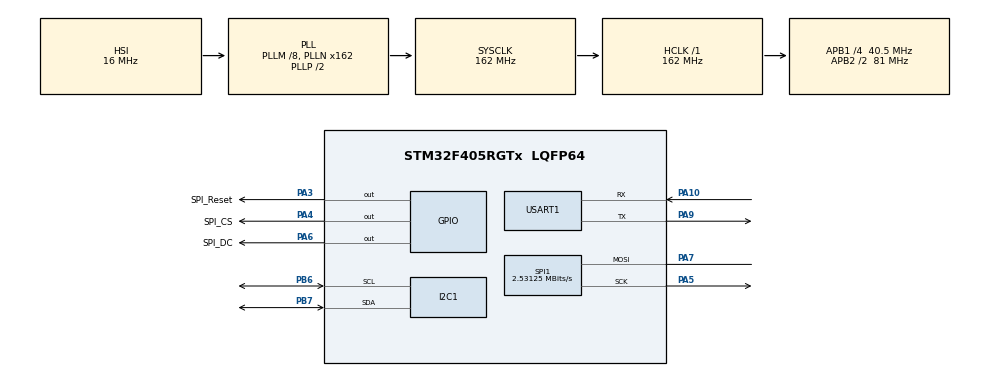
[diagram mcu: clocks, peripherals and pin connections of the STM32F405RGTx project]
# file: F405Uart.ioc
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Dma.I2C1_RX.0.Direction=DMA_PERIPH_TO_MEMORY
Dma.I2C1_RX.0.FIFOMode=DMA_FIFOMODE_DISABLE
Dma.I2C1_RX.0.Instance=DMA1_Stream0
Dma.I2C1_RX.0.MemDataAlignment=DMA_MDATAALIGN_BYTE
Dma.I2C1_RX.0.MemInc=DMA_MINC_ENABLE
Dma.I2C1_RX.0.Mode=DMA_CIRCULAR
Dma.I2C1_RX.0.PeriphDataAlignment=DMA_PDATAALIGN_BYTE
Dma.I2C1_RX.0.PeriphInc=DMA_PINC_DISABLE
Dma.I2C1_RX.0.Priority=DMA_PRIORITY_MEDIUM
Dma.Request0=I2C1_RX
I2C1.I2C_Mode=I2C_Fast
Mcu.Family=STM32F4
Mcu.Name=STM32F405RGTx
Mcu.Package=LQFP64
NVIC.DMA1_Stream0_IRQn=true\:0\:0\:false\:false\:true\:false\:true\:true
NVIC.I2C1_EV_IRQn=true\:0\:0\:false\:false\:true\:true\:true\:true
NVIC.PriorityGroup=NVIC_PRIORITYGROUP_4
PA10.Mode=Asynchronous
PA10.Signal=USART1_RX
PA13.Mode=Serial_Wire
PA13.Signal=SYS_JTMS-SWDIO
PA14.Mode=Serial_Wire
PA14.Signal=SYS_JTCK-SWCLK
PA3.GPIO_Label=SPI_Reset
PA3.Signal=GPIO_Output
PA4.GPIO_Label=SPI_CS
PA4.Signal=GPIO_Output
PA5.Mode=Simplex_Bidirectional_Master
PA5.Signal=SPI1_SCK
PA6.GPIO_Label=SPI_DC
PA6.Signal=GPIO_Output
PA7.Mode=Simplex_Bidirectional_Master
PA7.Signal=SPI1_MOSI
PA9.Mode=Asynchronous
PA9.Signal=USART1_TX
PB6.Mode=I2C
PB6.Signal=I2C1_SCL
PB7.Mode=I2C
PB7.Signal=I2C1_SDA
PH0-OSC_IN.Mode=HSE-External-Oscillator
PH0-OSC_IN.Signal=RCC_OSC_IN
PH1-OSC_OUT.Mode=HSE-External-Oscillator
PH1-OSC_OUT.Signal=RCC_OSC_OUT
ProjectManager.HeapSize=0x200
ProjectManager.StackSize=0x400
ProjectManager.TargetToolchain=STM32CubeIDE
RCC.48MHZClocksFreq_Value=81000000
RCC.AHBFreq_Value=162000000
RCC.APB1CLKDivider=RCC_HCLK_DIV4
RCC.APB1Freq_Value=40500000
RCC.APB1TimFreq_Value=81000000
RCC.APB2CLKDivider=RCC_HCLK_DIV2
RCC.APB2Freq_Value=81000000
RCC.APB2TimFreq_Value=162000000
RCC.CortexFreq_Value=162000000
RCC.HCLKFreq_Value=162000000
RCC.HSE_VALUE=25000000
RCC.HSI_VALUE=16000000
RCC.LSE_VALUE=32768
RCC.PLLM=8
RCC.PLLN=162
RCC.SYSCLKFreq_VALUE=162000000
RCC.SYSCLKSource=RCC_SYSCLKSOURCE_PLLCLK
RCC.VCOOutputFreq_Value=324000000
SPI1.BaudRatePrescaler=SPI_BAUDRATEPRESCALER_32
SPI1.CalculateBaudRate=2.53125 MBits/s
SPI1.Direction=SPI_DIRECTION_1LINE
SPI1.Mode=SPI_MODE_MASTER
SPI1.VirtualType=VM_MASTER
USART1.VirtualMode=VM_ASYNC
VP_RTC_VS_RTC_Activate.Mode=RTC_Enabled
VP_RTC_VS_RTC_Calendar.Mode=RTC_Calendar
board=custom

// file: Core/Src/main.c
/* USER CODE BEGIN Header */
/**
  ******************************************************************************
  * @file           : main.c
  * @brief          : Main program body
  ******************************************************************************
  * @attention
  *
  * Copyright (c) 2024 STMicroelectronics.
  * All rights reserved.
  *
  * This software is licensed under terms that can be found in the LICENSE file
  * in the root directory of this software component.
  * If no LICENSE file comes with this software, it is provided AS-IS.
  *
  ******************************************************************************
  */
/* USER CODE END Header */
#include "main.h"
#include "dma.h"
#include "i2c.h"
#include "rtc.h"
#include "spi.h"
#include "usart.h"
#include "gpio.h"

/* USER CODE BEGIN Includes */
#include "board.h"
//#include "mpu6050.h"
/* USER CODE END Includes */

/* USER CODE BEGIN PV */
//MPU6050_t MPU6050;
/* USER CODE END PV */

void SystemClock_Config(void);
/* USER CODE BEGIN PFP */
void I2C_Scanner(void);

/* USER CODE END PFP */

/* USER CODE BEGIN 0 */
/* Redirect printf to UART */
#ifdef __GNUC__
  // For GCC, implement __io_putchar for printf redirection
  int __io_putchar(int ch)
#else
  // For other compilers, implement fputc for printf redirection
  int fputc(int ch, FILE *f)
#endif /* __GNUC__ */
{
    // Transmit the character over UART1
    HAL_UART_Transmit(&huart1, (uint8_t *)&ch, 1, HAL_MAX_DELAY);
    return ch;
}
/* USER CODE END 0 */

int main(void)
{

  /* MCU Configuration--------------------------------------------------------*/

  /* Reset of all peripherals, Initializes the Flash interface and the Systick. */
  HAL_Init();

  /* Configure the system clock */
  SystemClock_Config();

  /* Initialize all configured peripherals */
  MX_GPIO_Init();
  MX_DMA_Init();
  MX_USART1_UART_Init();
  MX_RTC_Init();
  MX_SPI1_Init();
  MX_I2C1_Init();
  /* USER CODE BEGIN 2 */
  board_button_init();
  board_led_init();
  // LCD_Test():
  //I2C_Scanner();

  // while (MPU6050_Init(&hi2c1) == 1);

  uint32_t tick,tick_now;
  tick = HAL_GetTick() + 200;
  tick_now = HAL_GetTick();

  /* USER CODE END 2 */

  /* Infinite loop */
  while (1)
  {

    /* USER CODE BEGIN 3 */
	  tick_now = HAL_GetTick();
	  if(board_button_getstate())
	  {
		  if(tick_now >= tick)
		  {
			  tick = tick_now + 200;
			  board_led_toggle();
		  }
	  }
	  else
	  {
		  if(tick_now >= tick)
		  {
			  tick = tick_now + 50;

			  RTC_DateTypeDef sdatestructureget;
			  RTC_TimeTypeDef stimestructureget;
			  static uint8_t Seconds_o;

			  /* Get the RTC current Time */
			  HAL_RTC_GetTime(&hrtc, &stimestructureget, RTC_FORMAT_BIN);
			  /* Get the RTC current Date */
			  HAL_RTC_GetDate(&hrtc, &sdatestructureget, RTC_FORMAT_BIN);

			  if(Seconds_o != stimestructureget.Seconds)
			  {
				  //MPU6050_Read_All(&hi2c1, &MPU6050);

				  Seconds_o = stimestructureget.Seconds;

					printf("Y20%02d.M%02d.D%02d %02d:%02d:%02d\r",
					sdatestructureget.Year,
					sdatestructureget.Month,
					sdatestructureget.Date,
					stimestructureget.Hours,
					stimestructureget.Minutes,
					stimestructureget.Seconds);
					//printf("Ax: %8.5f Ay: %8.5f Az: %8.25\r\n", MPU6050.Ax, MPU6050.Ay, MPU6050.Az);
				  board_led_set(1);
			  }
			  else
			  {
				  board_led_set(0);
			  }
		  }
	  }
  }
  /* USER CODE END 3 */
}

void SystemClock_Config(void)
{
  RCC_OscInitTypeDef RCC_OscInitStruct = {0};
  RCC_ClkInitTypeDef RCC_ClkInitStruct = {0};

  /** Configure the main internal regulator output voltage
  */
  __HAL_RCC_PWR_CLK_ENABLE();
  __HAL_PWR_VOLTAGESCALING_CONFIG(PWR_REGULATOR_VOLTAGE_SCALE1);

  /** Initializes the RCC Oscillators according to the specified parameters
  * in the RCC_OscInitTypeDef structure.
  */
  RCC_OscInitStruct.OscillatorType = RCC_OSCILLATORTYPE_HSI|RCC_OSCILLATORTYPE_LSI;
  RCC_OscInitStruct.HSIState = RCC_HSI_ON;
  RCC_OscInitStruct.HSICalibrationValue = RCC_HSICALIBRATION_DEFAULT;
  RCC_OscInitStruct.LSIState = RCC_LSI_ON;
  RCC_OscInitStruct.PLL.PLLState = RCC_PLL_ON;
  RCC_OscInitStruct.PLL.PLLSource = RCC_PLLSOURCE_HSI;
  RCC_OscInitStruct.PLL.PLLM = 8;
  RCC_OscInitStruct.PLL.PLLN = 162;
  RCC_OscInitStruct.PLL.PLLP = RCC_PLLP_DIV2;
  RCC_OscInitStruct.PLL.PLLQ = 4;
  if (HAL_RCC_OscConfig(&RCC_OscInitStruct) != HAL_OK)
  {
    Error_Handler();
  }

  /** Initializes the CPU, AHB and APB buses clocks
  */
  RCC_ClkInitStruct.ClockType = RCC_CLOCKTYPE_HCLK|RCC_CLOCKTYPE_SYSCLK
                              |RCC_CLOCKTYPE_PCLK1|RCC_CLOCKTYPE_PCLK2;
  RCC_ClkInitStruct.SYSCLKSource = RCC_SYSCLKSOURCE_PLLCLK;
  RCC_ClkInitStruct.AHBCLKDivider = RCC_SYSCLK_DIV1;
  RCC_ClkInitStruct.APB1CLKDivider = RCC_HCLK_DIV4;
  RCC_ClkInitStruct.APB2CLKDivider = RCC_HCLK_DIV2;

  if (HAL_RCC_ClockConfig(&RCC_ClkInitStruct, FLASH_LATENCY_5) != HAL_OK)
  {
    Error_Handler();
  }
}

/* USER CODE BEGIN 4 */
void I2C_Scanner(void)
{
    HAL_StatusTypeDef status;
    uint8_t addr;

    printf("Scanning I2C bus...\n");

    for (addr = 1; addr < 128; addr++) {
        status = HAL_I2C_IsDeviceReady(&hi2c1, addr << 1, 1, 1000);
        if (status == HAL_OK) {
            printf("I2C device found at address 0x%02X\n", addr);
        }
    }
}
/* USER CODE END 4 */

void Error_Handler(void)
{
  __disable_irq();
  while (1)
  {
  }
}
